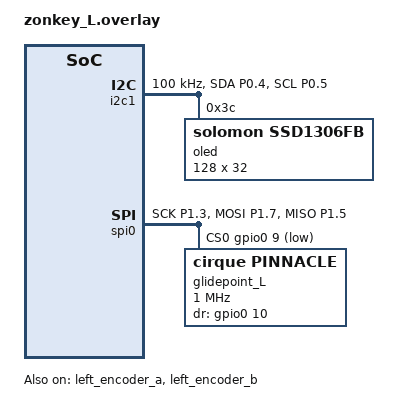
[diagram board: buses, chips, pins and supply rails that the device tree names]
#include "zonkey.dtsi"
#include <dt-bindings/zmk/input_transform.h>
#include <input/processors.dtsi>

/ {
    chosen {
        zmk,kscan = &kscan0;
        zmk,physical-layout = &default_layout;
        zephyr,display = &oled;
    };
};  

&kscan0 {
        col-gpios
            = <&xiao_d 10 (GPIO_ACTIVE_HIGH)>
            , <&xiao_d 9 (GPIO_ACTIVE_HIGH)>
            , <&xiao_d 8 (GPIO_ACTIVE_HIGH)>
            , <&xiao_d 7 (GPIO_ACTIVE_HIGH)>
            , <&gpio0 19 (GPIO_ACTIVE_HIGH)>
            ;
};

// I2C設定 (OLED用)
&pinctrl {
    i2c1_default: i2c1_default {
        group1 {
            psels = <NRF_PSEL(TWIM_SDA, 0, 4)>,
                    <NRF_PSEL(TWIM_SCL, 0, 5)>;
        };
    };

    i2c1_sleep: i2c1_sleep {
        group1 {
            psels = <NRF_PSEL(TWIM_SDA, 0, 4)>,
                    <NRF_PSEL(TWIM_SCL, 0, 5)>;
            low-power-enable;
        };
    };
};

&i2c1 {
    status = "okay";
    compatible = "nordic,nrf-twi";
    pinctrl-0 = <&i2c1_default>;
    pinctrl-1 = <&i2c1_sleep>;
    pinctrl-names = "default", "sleep";

    clock-frequency = <100000>;
    oled: ssd1306@3c {
        compatible = "solomon,ssd1306fb";
        reg = <0x3c>;
        width = <128>;
        height = <32>;
        segment-offset = <0>;
        page-offset = <0>;
        display-offset = <0>;
        multiplex-ratio = <31>;
        com-sequential;
        inversion-on;
        prechargep = <0x22>;
    };
};

&xiao_serial { status = "disabled"; };
&uart0 { status = "disabled";};

//Trackpad
&pinctrl {
    spi1_default: spi1_default {
        group1 {
            psels = <NRF_PSEL(SPIM_SCK, 1, 3)>,
                    <NRF_PSEL(SPIM_MOSI, 1, 7)>,
                    <NRF_PSEL(SPIM_MISO, 1, 5)>;
        };
    };
    spi1_sleep: spi1_sleep {
        group1 {
            psels = <NRF_PSEL(SPIM_SCK, 1, 3)>,
                    <NRF_PSEL(SPIM_MOSI, 1, 7)>,
                    <NRF_PSEL(SPIM_MISO, 1, 5)>;
            low-power-enable;
        };
    };
};

&qspi {
	status = "disabled";
};

&spi0 {
    status = "okay";
    compatible = "nordic,nrf-spim";
    pinctrl-0 = <&spi1_default>;
    pinctrl-1 = <&spi1_sleep>;
    pinctrl-names = "default", "sleep";
    cs-gpios = <&gpio0 9 GPIO_ACTIVE_LOW>;
    glidepoint_L: glidepoint_L@0 {
        status = "okay";
        compatible = "cirque,pinnacle";
        reg = <0>;
        spi-max-frequency = <1000000>;
        dr-gpios = <&gpio0 10 (GPIO_ACTIVE_HIGH)>;
        rotate-90;

        sensitivity = "2x";
        sleep;
        no-taps;

    };
};

&glidepoint_split_L {
    device = <&glidepoint_L>;
}; 

&left_encoder_a {
    status = "okay";
};

&left_encoder_b {
    status = "okay";
};
